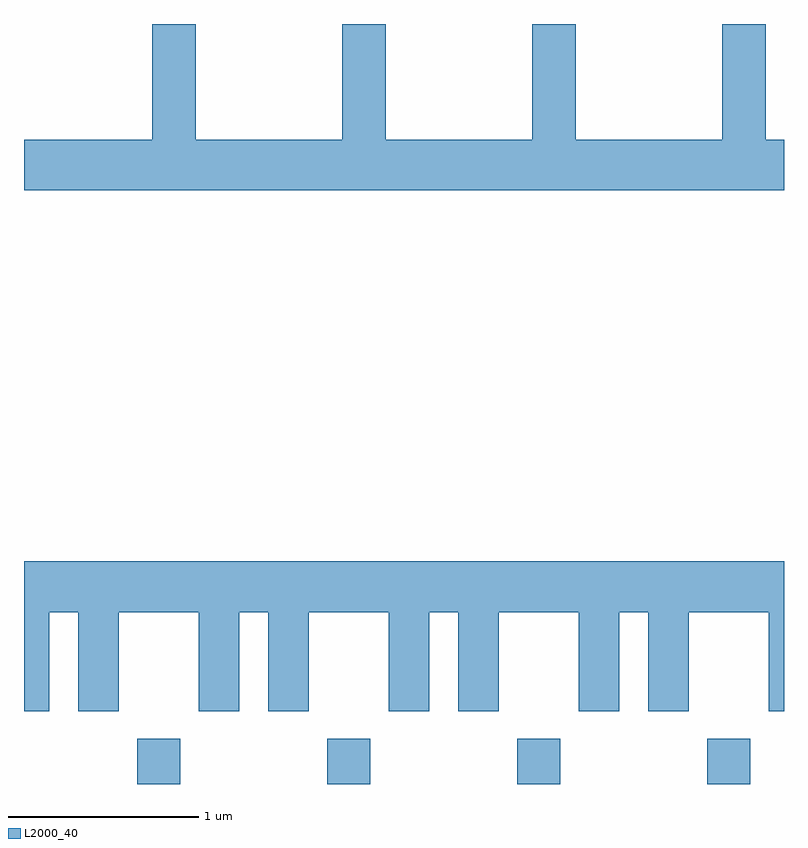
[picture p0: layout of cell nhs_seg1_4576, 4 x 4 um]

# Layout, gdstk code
import gdstk
lib = gdstk.Library(unit=1e-6, precision=1e-09)
def R(c, l, rs):  # rectangles x0, y0, x1, y1
    for r in rs: c.add(gdstk.rectangle(r[:2], r[2:], *l))
def A(c, l, x, y, w, h, nx, ny, dx, dy):  # array of equal rectangles
    R(c, l, [(x+i*dx, y+j*dy, x+i*dx+w, y+j*dy+h) for i in range(nx) for j in range(ny)])
def P(c, l, *ps):  # polygons
    for p in ps: c.add(gdstk.Polygon(p, *l))
L2000_40 = (2000, 40)

nhs_seg1_4576 = lib.new_cell('nhs_seg1_4576')
A(nhs_seg1_4576, L2000_40, 322.206, 969.712, 0.228, 0.237, 4, 1, 1, 0)
P(nhs_seg1_4576, L2000_40, [(325.611,973.104),(325.514,973.104),(325.514,973.712),(325.286,973.712),(325.286,973.104),(324.514,973.104),(324.514,973.712),(324.286,973.712),(324.286,973.104),(323.514,973.104),(323.514,973.712),(323.286,973.712),(323.286,973.104),(322.514,973.104),(322.514,973.712),(322.286,973.712),(322.286,973.104),(321.611,973.104),(321.611,972.836),(325.611,972.836)],
  [(321.744,970.616),(321.896,970.616),(321.896,970.096),(322.109,970.096),(322.109,970.616),(322.531,970.616),(322.531,970.096),(322.744,970.096),(322.744,970.616),(322.896,970.616),(322.896,970.096),(323.109,970.096),(323.109,970.616),(323.531,970.616),(323.531,970.096),(323.744,970.096),(323.744,970.616),(323.896,970.616),(323.896,970.096),(324.109,970.096),(324.109,970.616),(324.531,970.616),(324.531,970.096),(324.744,970.096),(324.744,970.616),(324.896,970.616),(324.896,970.096),(325.109,970.096),(325.109,970.616),(325.531,970.616),(325.531,970.096),(325.611,970.096),(325.611,970.884),(321.611,970.884),(321.611,970.096),(321.744,970.096)])

lib.write_gds('nhs_seg1_4576.gds')
